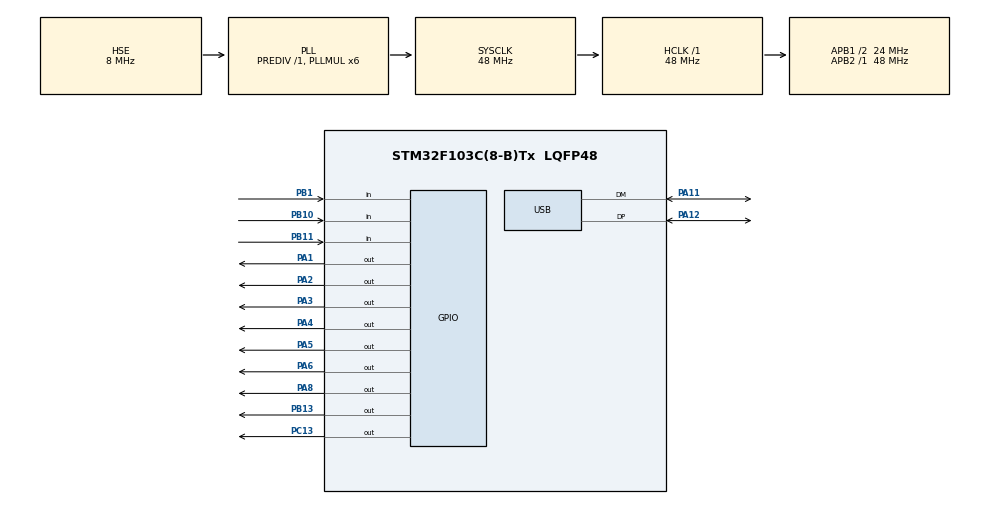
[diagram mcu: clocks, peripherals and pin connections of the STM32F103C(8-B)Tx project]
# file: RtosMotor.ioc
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FREERTOS.Tasks01=MotorZ,0,128,StartMotorZ,Default,NULL,Dynamic,NULL,NULL;MotorY,0,128,StartMotorY,Default,NULL,Dynamic,NULL,NULL;MotorX,0,128,StartMotorX,Default,NULL,Dynamic,NULL,NULL;DefaultTask,-3,128,MainTask,Default,NULL,Dynamic,NULL,NULL
FREERTOS.configUSE_NEWLIB_REENTRANT=1
Mcu.Family=STM32F1
Mcu.Name=STM32F103C(8-B)Tx
Mcu.Package=LQFP48
NVIC.PriorityGroup=NVIC_PRIORITYGROUP_4
NVIC.TIM3_IRQn=true\:15\:0\:false\:false\:true\:false\:false\:true\:true
NVIC.TimeBase=TIM3_IRQn
NVIC.TimeBaseIP=TIM3
NVIC.USB_LP_CAN1_RX0_IRQn=true\:5\:0\:false\:false\:true\:true\:false\:true\:true
PA1.Signal=GPIO_Output
PA11.Mode=Device
PA11.Signal=USB_DM
PA12.Mode=Device
PA12.Signal=USB_DP
PA13.Mode=Serial_Wire
PA13.Signal=SYS_JTMS-SWDIO
PA14.Mode=Serial_Wire
PA14.Signal=SYS_JTCK-SWCLK
PA2.Signal=GPIO_Output
PA3.Signal=GPIO_Output
PA4.Signal=GPIO_Output
PA5.Signal=GPIO_Output
PA6.Signal=GPIO_Output
PA8.Signal=GPIO_Output
PB1.GPIO_PuPd=GPIO_PULLUP
PB1.Signal=GPIO_Input
PB10.GPIO_PuPd=GPIO_PULLUP
PB10.Signal=GPIO_Input
PB11.GPIO_PuPd=GPIO_PULLUP
PB11.Signal=GPIO_Input
PB13.Signal=GPIO_Output
PC13-TAMPER-RTC.Signal=GPIO_Output
PD0-OSC_IN.Mode=HSE-External-Oscillator
PD0-OSC_IN.Signal=RCC_OSC_IN
PD1-OSC_OUT.Mode=HSE-External-Oscillator
PD1-OSC_OUT.Signal=RCC_OSC_OUT
ProjectManager.HeapSize=0x200
ProjectManager.StackSize=0x400
ProjectManager.TargetToolchain=STM32CubeIDE
RCC.AHBFreq_Value=48000000
RCC.APB1CLKDivider=RCC_HCLK_DIV2
RCC.APB1Freq_Value=24000000
RCC.APB1TimFreq_Value=48000000
RCC.APB2Freq_Value=48000000
RCC.APB2TimFreq_Value=48000000
RCC.HCLKFreq_Value=48000000
RCC.PLLMUL=RCC_PLL_MUL6
RCC.PLLSourceVirtual=RCC_PLLSOURCE_HSE
RCC.SYSCLKFreq_VALUE=48000000
RCC.SYSCLKSource=RCC_SYSCLKSOURCE_PLLCLK
RCC.USBFreq_Value=48000000
TIM1.Prescaler=2400
TIM2.Prescaler=2400
USB_DEVICE.CLASS_NAME_FS=CDC
USB_DEVICE.PRODUCT_STRING_CDC_FS=STM32 Virtual Port
USB_DEVICE.VirtualMode=Cdc
USB_DEVICE.VirtualModeFS=Cdc_FS
VP_FREERTOS_VS_CMSIS_V1.Mode=CMSIS_V1
VP_SYS_VS_tim3.Mode=TIM3
VP_TIM1_VS_ClockSourceINT.Mode=Internal
VP_TIM2_VS_ClockSourceINT.Mode=Internal
VP_USB_DEVICE_VS_USB_DEVICE_CDC_FS.Mode=CDC_FS
board=custom

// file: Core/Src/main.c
/* USER CODE BEGIN Header */
/**
  ******************************************************************************
  * @file           : main.c
  * @brief          : Main program body
  ******************************************************************************
  * @attention
  *
  * Copyright (c) 2024 STMicroelectronics.
  * All rights reserved.
  *
  * This software is licensed under terms that can be found in the LICENSE file
  * in the root directory of this software component.
  * If no LICENSE file comes with this software, it is provided AS-IS.
  *
  ******************************************************************************
  */
/* USER CODE END Header */
#include "main.h"
#include "cmsis_os.h"
#include "usb_device.h"
#include "string.h"

TIM_HandleTypeDef htim1;
TIM_HandleTypeDef htim2;

osThreadId MotorZHandle;
osThreadId MotorYHandle;
osThreadId MotorXHandle;
osThreadId DefaultTaskHandle;

void SystemClock_Config(void);
static void MX_GPIO_Init(void);
static void MX_TIM1_Init(void);
static void MX_TIM2_Init(void);
void StartMotorZ(void const * argument);
void StartMotorY(void const * argument);
void StartMotorX(void const * argument);
void MainTask(void const * argument);

/* USER CODE BEGIN PFP */
char *data = "done\n";
char *data1 = "top\n";
char *data2 = "Received\n";
char *data3 = "bottom\n";
char *detect = "Detected";
char *undetect = "Undetected";
uint8_t buffer[64];
/* USER CODE END PFP */

/* USER CODE BEGIN 0 */
#define MOTORy_STEP_PIN GPIO_PIN_1
#define MOTORy_STEP_PORT GPIOA
#define MOTORy_DIR_PIN GPIO_PIN_2
#define MOTORy_DIR_PORT GPIOA

#define MOTORx_STEP_PIN GPIO_PIN_3
#define MOTORx_STEP_PORT GPIOA
#define MOTORx_DIR_PIN GPIO_PIN_4
#define MOTORx_DIR_PORT GPIOA
//
#define MOTORz_STEP_PIN GPIO_PIN_5
#define MOTORz_STEP_PORT GPIOA
#define MOTORz_DIR_PIN GPIO_PIN_6
#define MOTORz_DIR_PORT GPIOA

#define MOTORr_STEP_PIN GPIO_PIN_13
#define MOTORr_STEP_PORT GPIOB
#define MOTORr_DIR_PIN GPIO_PIN_8
#define MOTORr_DIR_PORT GPIOA

#define PUMPER_PIN GPIO_PIN_12
#define PUMPER_PORT GPIOB

int home = 0;
uint16_t test;
/* Define motor directions */
#define MOTORy_FORWARD GPIO_PIN_SET
#define MOTORy_BACKWARD GPIO_PIN_RESET
#define MOTORx_LEFT GPIO_PIN_RESET
#define MOTORx_RIGHT GPIO_PIN_SET
#define MOTORz_UP GPIO_PIN_SET
#define MOTORz_DOWN GPIO_PIN_RESET
#define MOTORr_clockwise GPIO_PIN_SET

#define PUMP_OFF GPIO_PIN_RESET
#define PUMP_ON GPIO_PIN_SET
//#define LIMIT_X_PIN GPIO_PIN_10
//#define LIMIT_X_PORT GPIOB
#define LIMIT_Y_PIN GPIO_PIN_10
#define LIMIT_Y_PORT GPIOB
#define LIMIT_X_PIN GPIO_PIN_11
#define LIMIT_X_PORT GPIOB
#define LIMIT_Z_PIN GPIO_PIN_1
#define LIMIT_Z_PORT GPIOB

#define axis_X 1
#define axis_Y 2
#define axis_Z 3
#define axis_r 4
//Set
uint16_t max_pos_y = 160;
uint16_t max_pul_y = 32000;
uint16_t max_pos_x = 200;
uint16_t max_pul_x = 40000;
uint16_t max_pos_z = 400;
uint16_t max_pul_z = 8000;
uint16_t max_pos_r = 360;
uint16_t max_pul_r = 6400;
uint16_t cx,cy,cz,cr;
//char *data = "Hello World from USB CDC\n";

uint16_t step = 0;
char numStr[21];
void delay_1ms(void)
{
 __HAL_TIM_SetCounter(&htim1, 0);
 while (__HAL_TIM_GetCounter(&htim1)<1);//fix 20 to delay 1ms 10 is a half = 0.5ms
}

void delay_ms(int time)
{
 int i = 0;
 for(i = 0; i < time; i++)
 {
   delay_1ms();
 }
}

float Setacc(float a)
{
	a = 100;
	a /= 100;
	return a;
}

void MotorY (unsigned long long steps, uint8_t direction)
{
  uint16_t AccMax = 1;
  int x;
  if (direction == 0)
	  HAL_GPIO_WritePin(MOTORy_DIR_PORT, MOTORy_DIR_PIN, MOTORy_BACKWARD);
  else
	  HAL_GPIO_WritePin(MOTORy_DIR_PORT, MOTORy_DIR_PIN, MOTORy_FORWARD);
  for(x=0; x<steps; x=x+1)
  {

	HAL_GPIO_WritePin(MOTORy_STEP_PORT, MOTORy_STEP_PIN, GPIO_PIN_SET);
	delay_ms(AccMax);
	HAL_GPIO_WritePin(MOTORy_STEP_PORT, MOTORy_STEP_PIN, GPIO_PIN_RESET);
	delay_ms(AccMax);
  }
}
void SetHomeY()
{
	  uint16_t AccMax = 1;
		HAL_GPIO_WritePin(MOTORy_DIR_PORT, MOTORy_DIR_PIN, GPIO_PIN_RESET);
		while(HAL_GPIO_ReadPin(LIMIT_Y_PORT,LIMIT_Y_PIN))
		{

		HAL_GPIO_WritePin(MOTORy_STEP_PORT, MOTORy_STEP_PIN, GPIO_PIN_SET);
		delay_ms(AccMax);
		HAL_GPIO_WritePin(MOTORy_STEP_PORT, MOTORy_STEP_PIN, GPIO_PIN_RESET);
		delay_ms(AccMax);
		}
		//delay_ms(1000);

		//cy = 0;

}
void MotorX (uint16_t steps, uint8_t direction)
{
  uint16_t AccMax = 1;

  uint16_t x;
  if (direction == 0)
	  HAL_GPIO_WritePin(MOTORx_DIR_PORT, MOTORx_DIR_PIN, MOTORx_LEFT);
  else
	  HAL_GPIO_WritePin(MOTORx_DIR_PORT, MOTORx_DIR_PIN, MOTORx_RIGHT);
  for(x=0; x<steps; x=x+1)
  {

	HAL_GPIO_WritePin(MOTORx_STEP_PORT, MOTORx_STEP_PIN, GPIO_PIN_SET);
	delay_ms(AccMax);
	HAL_GPIO_WritePin(MOTORx_STEP_PORT, MOTORx_STEP_PIN, GPIO_PIN_RESET);
	delay_ms(AccMax);
  }
}
void SetHomeX()
{
	  uint16_t AccMax = 1;
		HAL_GPIO_WritePin(MOTORx_DIR_PORT, MOTORx_DIR_PIN, MOTORx_LEFT);
		while(HAL_GPIO_ReadPin(LIMIT_X_PORT,LIMIT_X_PIN))
		{

		HAL_GPIO_WritePin(MOTORx_STEP_PORT, MOTORx_STEP_PIN, GPIO_PIN_SET);
		delay_ms(AccMax);
		HAL_GPIO_WritePin(MOTORx_STEP_PORT, MOTORx_STEP_PIN, GPIO_PIN_RESET);
		delay_ms(AccMax);
		}
		cx = 0;
		//MotorX(600,1);
}
void MotorZ (unsigned long long steps, uint8_t direction)
{
  uint16_t AccMax = 4;
  int x;
  if (direction == 0)
	  HAL_GPIO_WritePin(MOTORz_DIR_PORT, MOTORz_DIR_PIN, MOTORz_DOWN);
  else
	  HAL_GPIO_WritePin(MOTORz_DIR_PORT, MOTORz_DIR_PIN, MOTORz_UP);
  for(x=0; x<steps; x=x+1)
  {
	HAL_GPIO_WritePin(MOTORz_STEP_PORT, MOTORz_STEP_PIN, GPIO_PIN_SET);
	delay_ms(AccMax);
	HAL_GPIO_WritePin(MOTORz_STEP_PORT, MOTORz_STEP_PIN, GPIO_PIN_RESET);
	delay_ms(AccMax);
  }

}
void MotorR (unsigned long long steps, uint8_t direction)
{
  uint16_t AccMax = 1;
  int x;
  if (direction == 0)
	  HAL_GPIO_WritePin(MOTORr_DIR_PORT, MOTORr_DIR_PIN, MOTORr_clockwise);
  else
	  HAL_GPIO_WritePin(MOTORr_DIR_PORT, MOTORr_DIR_PIN, GPIO_PIN_RESET);
  for(x=0; x<steps; x=x+1)
  {
	HAL_GPIO_WritePin(MOTORr_STEP_PORT, MOTORr_STEP_PIN, GPIO_PIN_SET);
	delay_ms(AccMax);
	HAL_GPIO_WritePin(MOTORr_STEP_PORT, MOTORr_STEP_PIN, GPIO_PIN_RESET);
	delay_ms(AccMax);
  }

}
void SetHomeZ()
{
	uint16_t AccMax = 1;
			HAL_GPIO_WritePin(MOTORz_DIR_PORT, MOTORz_DIR_PIN, GPIO_PIN_SET);
			while(HAL_GPIO_ReadPin(LIMIT_Z_PORT,LIMIT_Z_PIN))
			{

			HAL_GPIO_WritePin(MOTORz_STEP_PORT, MOTORz_STEP_PIN, GPIO_PIN_SET);
			delay_ms(AccMax);
			HAL_GPIO_WritePin(MOTORz_STEP_PORT, MOTORz_STEP_PIN, GPIO_PIN_RESET);
			delay_ms(AccMax);
			}
}

void ull_to_string(char* str, unsigned long long a) {
    char convert[21]; // Buffer to hold the number plus a null-terminator
    int i = 0;

    if (a == 0) {
        convert[i++] = '0';
    }

    // Convert number to string in reverse order
    while (a != 0) {
        unsigned long long last_digit = a % 10;
        convert[i++] = '0' + last_digit;
        a /= 10;
    }

    convert[i] = '\0'; // Null-terminate the string

    // Reverse the string
    int j;
    for (j = 0; j < i / 2; j++) {
        char tmp = convert[j];
        convert[j] = convert[i - 1 - j];
        convert[i - 1 - j] = tmp;
    }

    strcpy(str, convert); // Copy the reversed string to the output
}
uint16_t convert(float pos, int axis)
{
    float max_pos = -1;
    float max_pul =  -1;
	switch(axis)
	{
	case axis_X:
		max_pos = (float)max_pos_x;
		max_pul = (float)max_pul_x;
		break;
	case axis_Y:
		max_pos = (float)max_pos_y;
		max_pul = (float)max_pul_y;
		break;
	case axis_r:
		max_pos = (float)max_pos_r;
		max_pul = (float)max_pul_r;
		break;
	}
	if(max_pul != -1 && max_pos!=-1)
	{
		float PosPerPul = max_pos/max_pul;
		uint16_t reqpul = (uint16_t)ceil(fabs(pos) / PosPerPul);
		test = reqpul;
		if(pos>0)
		{
			switch(axis)
			{
			case axis_X:
				MotorX(reqpul,1);
				break;
			case axis_Y:
				MotorY(reqpul,1);
				break;
			case axis_r:
				MotorR(reqpul,1);
				break;
			}
		}
		else
		{
			switch(axis)
			{
			case axis_X:
				MotorX(reqpul,0);
				break;
			case axis_Y:
				MotorY(reqpul,0);
				break;
			case axis_r:
				MotorR(reqpul,0);
				break;
			}
		}
	}
}

void clearBuffer(char *buffer, size_t size) {
    memset(buffer, '\0', size);
}

void Feeder()
{
	MotorX(1000,1);
	MotorY(1000,1);
}

void SetHomePNP()
{
	  SetHomeZ();
	  delay_ms(500);
	  SetHomeX();
	  delay_ms(500);
	  MotorX(8000,1);
	  delay_ms(500);
	  SetHomeY();
	  delay_ms(500);
	  MotorY(8000,1);

}

void SetHome2()
{
	  //SetHomeZ();
	  //delay_ms(500);
	  SetHomeX();
	  delay_ms(500);
	 // MotorX(5400,1);//-100
	  convert(54.2,axis_X); //R3 54
	  delay_ms(500);
	  SetHomeY();

	  delay_ms(500);
	  //MotorY(4300,1);
	  convert(43.9,axis_Y);//43.1

	  delay_ms(1500);
	//  MotorZ(3300,0);
}
void ReversePCB()
{
	SetHomeZ();
	convert(-54,axis_X);
	delay_ms(1000);
	convert(-43.1,axis_Y);
	delay_ms(1000);
}
void checkpointcambot()
{
	  delay_ms(500);
	  MotorX(23400,1);
	  delay_ms(1500);
//	  SetHomeY();
//	  delay_ms(500);
//	  MotorY(20,0);
//	  delay_ms(1500);
}

void checkpointfeeder()
{
	  delay_ms(500);
	  MotorY(21000,1);
	  //delay_ms(500);
//	  SetHomeY();
//	  delay_ms(500);
//	  MotorY(4000,1);
}
//void pick()
//{
//
//}
void pickandplace()
{
	MotorZ(3000,0);
	delay_ms(1500);
	SetHomeZ();
	//CDC_Transmit_FS(data, strlen((char *)data));
}
void backtobot()
{
	MotorY(21000,0);
	delay_ms(1500);
}
void listen(char* message)
{

    while (strcmp((char*)buffer, message) != 0)
    {

        delay_ms(4000);
    }

    //CDC_Transmit_FS(data, strlen((char*)data));
}
void ListenBot(char* message)
{
	int startTime = HAL_GetTick();
	clearBuffer(buffer,64);
	  while (strcmp((char*)buffer, message) != 0)
	    {
		          if (HAL_GetTick() - startTime >= 10000)
		          {
		        	  checkpointfeeder();
		              return;//NVIC_SystemReset(); // Reset the STM32
		          }

	        delay_ms(4000);
	    }
	  	  delay_ms(5000);
	  	     SetHome2();
	  	     convert(90,axis_r);
	  	     delay_ms(1500);
	  	     convert( -0.5222,axis_X);
	  	     delay_ms(1500);
	  	     convert( -2.6112,axis_Y);
	  	     delay_ms(1500);
	  	     MotorZ(7400,0);
	  	     delay_ms(3000);
	  	     HAL_GPIO_WritePin(PUMPER_PORT, PUMPER_PIN, PUMP_OFF);
	  	     delay_ms(15000);
	  	     SetHomeZ();
	  	   clearBuffer(buffer,64);
}

void flow()
{
	  listen("Start");
	  delay_ms(5000);
//	  	  SetHomePNP();
//	  	  delay_ms(1000);
	  CDC_Transmit_FS(data1, strlen((char*)data1));//top

	 // CDC_Transmit_FS(data, strlen((char*)data));
	 delay_ms(3000);
	  listen("camtopok");

//	 SetHome2();
	  	delay_ms(1000);
//	      checkpointcambot();
//	      delay_ms(1500);
//	      checkpointfeeder();
//	      delay_ms(1500);
	  delay_ms(5000);
	  CDC_Transmit_FS(data3, strlen((char*)data3));
	  delay_ms(3000);
	  //if(ListenBot("Detected")==1)

	  //listen("camtopok");
}
void pickIC()
{
	delay_ms(3500);
	convert( -25.4,axis_X);
	delay_ms(3500);
	convert(46,axis_Y);
	delay_ms(3500);
	MotorZ(7500,0);
	delay_ms(1500);
	HAL_GPIO_WritePin(PUMPER_PORT, PUMPER_PIN, PUMP_ON);
	delay_ms(40500);
	SetHomeZ();
}
void pickCAP()
{
	delay_ms(3500);
	convert( -7,axis_X); //-7
	delay_ms(3500);
	convert(44,axis_Y);//48 -4
	delay_ms(3500);
	MotorZ(7400,0);
	delay_ms(1500);
	HAL_GPIO_WritePin(PUMPER_PORT, PUMPER_PIN, PUMP_ON);
	delay_ms(40500);
	SetHomeZ();
}

void testserial()
{
	listen(data3);

}

void test1()
{
		SetHomeZ();
	     delay_ms(1500);
	     SetHome2();
	     delay_ms(1500);
	     //MotorZ(3300,0);
	     //delay_ms(19500);
	     //SetHomeZ();
	     delay_ms(1500);
	     checkpointcambot();
	     delay_ms(10500);
	     checkpointfeeder();
	     pickIC();
	     delay_ms(40500);
	     convert( 25.4,axis_X);
	     delay_ms(1500);
	     convert(-46,axis_Y);
	     delay_ms(1500);
	     backtobot();
	     delay_ms(40000);
	     CDC_Transmit_FS(data3, strlen((char*)data3));
	     ListenBot("cambottomok\n");

//	     delay_ms(5000);
//	     SetHome2();
//	     convert(90,axis_r);
//	     delay_ms(1500);
//	     convert( -0.5222,axis_X);
//	     delay_ms(1500);
//	     convert( -2.6112,axis_Y);
//	     delay_ms(1500);
//	     MotorZ(7400,0);
//	     delay_ms(3000);
//	     HAL_GPIO_WritePin(PUMPER_PORT, PUMPER_PIN, PUMP_OFF);
//	     delay_ms(15000);
//	     SetHomeZ();
}

void test2()
{
	SetHomeZ();
	delay_ms(3500);
	SetHome2();
	delay_ms(3500);
	convert(-8.1,axis_X);//C1
	delay_ms(1500);
	convert(0.04,axis_Y);//C1
	delay_ms(1500);
	MotorZ(7400,0);
	delay_ms(14000);
	SetHomeZ();
	delay_ms(3500);
	SetHome2();
	delay_ms(3500);
	convert(3.96679,axis_X);//R5
	delay_ms(1500);
	convert(10,axis_Y);//R5
	delay_ms(1500);
	MotorZ(7400,0);
	delay_ms(14000);
	SetHomeZ();
	delay_ms(3500);
	SetHome2();
	delay_ms(3500);
	convert(-4,axis_X);//R3
	delay_ms(1500);
	convert(10.0182,axis_Y);//R3
	delay_ms(1500);
	MotorZ(7400,0);
	delay_ms(14000);
	SetHomeZ();
	delay_ms(3500);
	SetHome2();
	delay_ms(3500);
	convert(7.03001,axis_X);//D1
	delay_ms(1500);
	convert(-9.98179,axis_Y);//D1
	delay_ms(1500);
	MotorZ(7400,0);
	delay_ms(14000);
	SetHomeZ();
	delay_ms(3500);
	SetHome2();
	delay_ms(3500);
	convert(-0.02,axis_X);//D2
	delay_ms(1500);
	convert(-9.98179,axis_Y);//D2
	delay_ms(1500);
	MotorZ(7400,0);
	delay_ms(14000);

}

/* USER CODE END 0 */

int main(void)
{

  /* MCU Configuration--------------------------------------------------------*/

  /* Reset of all peripherals, Initializes the Flash interface and the Systick. */
  HAL_Init();

  /* Configure the system clock */
  SystemClock_Config();

  /* Initialize all configured peripherals */
  MX_GPIO_Init();
  MX_TIM1_Init();
  MX_TIM2_Init();
  /* USER CODE BEGIN 2 */
  HAL_TIM_Base_Start(&htim1);
  HAL_TIM_Base_Start(&htim2);
  /* USER CODE END 2 */

  /* Create the thread(s) */
  /* definition and creation of MotorZ */
  osThreadDef(MotorZ, StartMotorZ, osPriorityNormal, 0, 128);
  MotorZHandle = osThreadCreate(osThread(MotorZ), NULL);

  /* definition and creation of MotorY */
  osThreadDef(MotorY, StartMotorY, osPriorityNormal, 0, 128);
  MotorYHandle = osThreadCreate(osThread(MotorY), NULL);

  /* definition and creation of MotorX */
  osThreadDef(MotorX, StartMotorX, osPriorityNormal, 0, 128);
  MotorXHandle = osThreadCreate(osThread(MotorX), NULL);

  /* definition and creation of DefaultTask */
  osThreadDef(DefaultTask, MainTask, osPriorityIdle, 0, 128);
  DefaultTaskHandle = osThreadCreate(osThread(DefaultTask), NULL);

  /* Start scheduler */
  osKernelStart();

  /* We should never get here as control is now taken by the scheduler */

  /* Infinite loop */
  while (1)
  {

  }
}

void SystemClock_Config(void)
{
  RCC_OscInitTypeDef RCC_OscInitStruct = {0};
  RCC_ClkInitTypeDef RCC_ClkInitStruct = {0};
  RCC_PeriphCLKInitTypeDef PeriphClkInit = {0};

  /** Initializes the RCC Oscillators according to the specified parameters
  * in the RCC_OscInitTypeDef structure.
  */
  RCC_OscInitStruct.OscillatorType = RCC_OSCILLATORTYPE_HSE;
  RCC_OscInitStruct.HSEState = RCC_HSE_ON;
  RCC_OscInitStruct.HSEPredivValue = RCC_HSE_PREDIV_DIV1;
  RCC_OscInitStruct.HSIState = RCC_HSI_ON;
  RCC_OscInitStruct.PLL.PLLState = RCC_PLL_ON;
  RCC_OscInitStruct.PLL.PLLSource = RCC_PLLSOURCE_HSE;
  RCC_OscInitStruct.PLL.PLLMUL = RCC_PLL_MUL6;
  if (HAL_RCC_OscConfig(&RCC_OscInitStruct) != HAL_OK)
  {
    Error_Handler();
  }

  /** Initializes the CPU, AHB and APB buses clocks
  */
  RCC_ClkInitStruct.ClockType = RCC_CLOCKTYPE_HCLK|RCC_CLOCKTYPE_SYSCLK
                              |RCC_CLOCKTYPE_PCLK1|RCC_CLOCKTYPE_PCLK2;
  RCC_ClkInitStruct.SYSCLKSource = RCC_SYSCLKSOURCE_PLLCLK;
  RCC_ClkInitStruct.AHBCLKDivider = RCC_SYSCLK_DIV1;
  RCC_ClkInitStruct.APB1CLKDivider = RCC_HCLK_DIV2;
  RCC_ClkInitStruct.APB2CLKDivider = RCC_HCLK_DIV1;

  if (HAL_RCC_ClockConfig(&RCC_ClkInitStruct, FLASH_LATENCY_1) != HAL_OK)
  {
    Error_Handler();
  }
  PeriphClkInit.PeriphClockSelection = RCC_PERIPHCLK_USB;
  PeriphClkInit.UsbClockSelection = RCC_USBCLKSOURCE_PLL;
  if (HAL_RCCEx_PeriphCLKConfig(&PeriphClkInit) != HAL_OK)
  {
    Error_Handler();
  }
}

static void MX_TIM1_Init(void)
{

  TIM_ClockConfigTypeDef sClockSourceConfig = {0};
  TIM_MasterConfigTypeDef sMasterConfig = {0};

  htim1.Instance = TIM1;
  htim1.Init.Prescaler = 2400;
  htim1.Init.CounterMode = TIM_COUNTERMODE_UP;
  htim1.Init.Period = 65535;
  htim1.Init.ClockDivision = TIM_CLOCKDIVISION_DIV1;
  htim1.Init.RepetitionCounter = 0;
  htim1.Init.AutoReloadPreload = TIM_AUTORELOAD_PRELOAD_DISABLE;
  if (HAL_TIM_Base_Init(&htim1) != HAL_OK)
  {
    Error_Handler();
  }
  sClockSourceConfig.ClockSource = TIM_CLOCKSOURCE_INTERNAL;
  if (HAL_TIM_ConfigClockSource(&htim1, &sClockSourceConfig) != HAL_OK)
  {
    Error_Handler();
  }
  sMasterConfig.MasterOutputTrigger = TIM_TRGO_RESET;
  sMasterConfig.MasterSlaveMode = TIM_MASTERSLAVEMODE_DISABLE;
  if (HAL_TIMEx_MasterConfigSynchronization(&htim1, &sMasterConfig) != HAL_OK)
  {
    Error_Handler();
  }

}

static void MX_TIM2_Init(void)
{

  TIM_ClockConfigTypeDef sClockSourceConfig = {0};
  TIM_MasterConfigTypeDef sMasterConfig = {0};

  htim2.Instance = TIM2;
  htim2.Init.Prescaler = 2400;
  htim2.Init.CounterMode = TIM_COUNTERMODE_UP;
  htim2.Init.Period = 65535;
  htim2.Init.ClockDivision = TIM_CLOCKDIVISION_DIV1;
  htim2.Init.AutoReloadPreload = TIM_AUTORELOAD_PRELOAD_DISABLE;
  if (HAL_TIM_Base_Init(&htim2) != HAL_OK)
  {
    Error_Handler();
  }
  sClockSourceConfig.ClockSource = TIM_CLOCKSOURCE_INTERNAL;
  if (HAL_TIM_ConfigClockSource(&htim2, &sClockSourceConfig) != HAL_OK)
  {
    Error_Handler();
  }
  sMasterConfig.MasterOutputTrigger = TIM_TRGO_RESET;
  sMasterConfig.MasterSlaveMode = TIM_MASTERSLAVEMODE_DISABLE;
  if (HAL_TIMEx_MasterConfigSynchronization(&htim2, &sMasterConfig) != HAL_OK)
  {
    Error_Handler();
  }

}

static void MX_GPIO_Init(void)
{
  GPIO_InitTypeDef GPIO_InitStruct = {0};

  /* GPIO Ports Clock Enable */
  __HAL_RCC_GPIOC_CLK_ENABLE();
  __HAL_RCC_GPIOD_CLK_ENABLE();
  __HAL_RCC_GPIOA_CLK_ENABLE();
  __HAL_RCC_GPIOB_CLK_ENABLE();

  /*Configure GPIO pin Output Level */
  HAL_GPIO_WritePin(GPIOC, GPIO_PIN_13, GPIO_PIN_RESET);

  /*Configure GPIO pin Output Level */
  HAL_GPIO_WritePin(GPIOA, GPIO_PIN_1|GPIO_PIN_2|GPIO_PIN_3|GPIO_PIN_4
                          |GPIO_PIN_5|GPIO_PIN_6|GPIO_PIN_8, GPIO_PIN_RESET);

  /*Configure GPIO pin Output Level */
  HAL_GPIO_WritePin(GPIOB, GPIO_PIN_13, GPIO_PIN_RESET);

  /*Configure GPIO pin : PC13 */
  GPIO_InitStruct.Pin = GPIO_PIN_13;
  GPIO_InitStruct.Mode = GPIO_MODE_OUTPUT_PP;
  GPIO_InitStruct.Pull = GPIO_NOPULL;
  GPIO_InitStruct.Speed = GPIO_SPEED_FREQ_LOW;
  HAL_GPIO_Init(GPIOC, &GPIO_InitStruct);

  /*Configure GPIO pins : PA1 PA2 PA3 PA4
                           PA5 PA6 PA8 */
  GPIO_InitStruct.Pin = GPIO_PIN_1|GPIO_PIN_2|GPIO_PIN_3|GPIO_PIN_4
                          |GPIO_PIN_5|GPIO_PIN_6|GPIO_PIN_8;
  GPIO_InitStruct.Mode = GPIO_MODE_OUTPUT_PP;
  GPIO_InitStruct.Pull = GPIO_NOPULL;
  GPIO_InitStruct.Speed = GPIO_SPEED_FREQ_LOW;
  HAL_GPIO_Init(GPIOA, &GPIO_InitStruct);

  /*Configure GPIO pins : PB1 PB10 PB11 */
  GPIO_InitStruct.Pin = GPIO_PIN_1|GPIO_PIN_10|GPIO_PIN_11;
  GPIO_InitStruct.Mode = GPIO_MODE_INPUT;
  GPIO_InitStruct.Pull = GPIO_PULLUP;
  HAL_GPIO_Init(GPIOB, &GPIO_InitStruct);

  /*Configure GPIO pin : PB13 */
  GPIO_InitStruct.Pin = GPIO_PIN_13;
  GPIO_InitStruct.Mode = GPIO_MODE_OUTPUT_PP;
  GPIO_InitStruct.Pull = GPIO_NOPULL;
  GPIO_InitStruct.Speed = GPIO_SPEED_FREQ_LOW;
  HAL_GPIO_Init(GPIOB, &GPIO_InitStruct);

}

/* USER CODE BEGIN 4 */
void TriggerHome(void)
{
	xTaskNotifyGive(MotorZHandle);
}
/* USER CODE END 4 */

void StartMotorZ(void const * argument)
{

  /* USER CODE BEGIN 5 */

  /* Infinite loop */

  for(;;)
  	  {
  		ulTaskNotifyTake(pdTRUE,portMAX_DELAY);
  		xTaskNotifyGive(MotorYHandle);
  	    SetHomeZ();
  	    //delay_ms(1500);
  	    //convert(54.2,axis_X); //R3 54
  	    //osThreadSuspend(MotorX);
  	  }
  /* USER CODE END 5 */
}

void StartMotorY(void const * argument)
{
  /* USER CODE BEGIN StartMotorY */
  /* Infinite loop */

	for(;;)
	  {
		ulTaskNotifyTake(pdTRUE,portMAX_DELAY);
		xTaskNotifyGive(MotorXHandle);
	    SetHomeY();
	    delay_ms(1500);
	    if(home ==1)
	    {
	    	MotorY(8780,1);
	    }
	    else if(home == 0)
	    {
	    	MotorY(8000,1);
	    }
	    //convert(43.9,axis_Y);//43.1
	    //delay_ms(1500);
	    //convert(54.2,axis_X); //R3 54
	    //osThreadSuspend(MotorX);
	  }
  /* USER CODE END StartMotorY */
}

void StartMotorX(void const * argument)
{
  /* USER CODE BEGIN StartMotorX */
  /* Infinite loop */

  for(;;)
  {
	ulTaskNotifyTake(pdTRUE,portMAX_DELAY);
    SetHomeX();
    delay_ms(500);
   // MotorX(5400,1);//-100

    if(home ==1)
    	    {
 //  			convert(54.2,axis_X); //R3 54
    			MotorX(10840,1);
    	    }
    	    else if(home == 0)
    	    {
    	    	 MotorX(8000,1);
    	    }
    //delay_ms(1500);
    //convert(54.2,axis_X); //R3 54
    //osThreadSuspend(MotorX);
  }
  /* USER CODE END StartMotorX */
}

void MainTask(void const * argument)
{
	//mark1
  /* USER CODE BEGIN MainTask */
	/* init code for USB_DEVICE */
	MX_USB_DEVICE_Init();
	TriggerHome();
	home = 1;
	delay_ms(1500);
	CDC_Transmit_FS(data1, strlen((char *)data1));
	listen("camtopok");
	TriggerHome();
	delay_ms(1500);
	checkpointcambot();
	//MotorZ(7400,0);
	delay_ms(1500);
	SetHomeZ();
	delay_ms(1500);
	 MotorX(23400,1);
	 delay_ms(1500);
	TriggerHome();

	/* Infinite loop */
//  for(;;)
//  {
//    osDelay(1);
//  }
  /* USER CODE END MainTask */
}

void HAL_TIM_PeriodElapsedCallback(TIM_HandleTypeDef *htim)
{
  if (htim->Instance == TIM3) {
    HAL_IncTick();
  }
}

void Error_Handler(void)
{
  __disable_irq();
  while (1)
  {
  }
}
